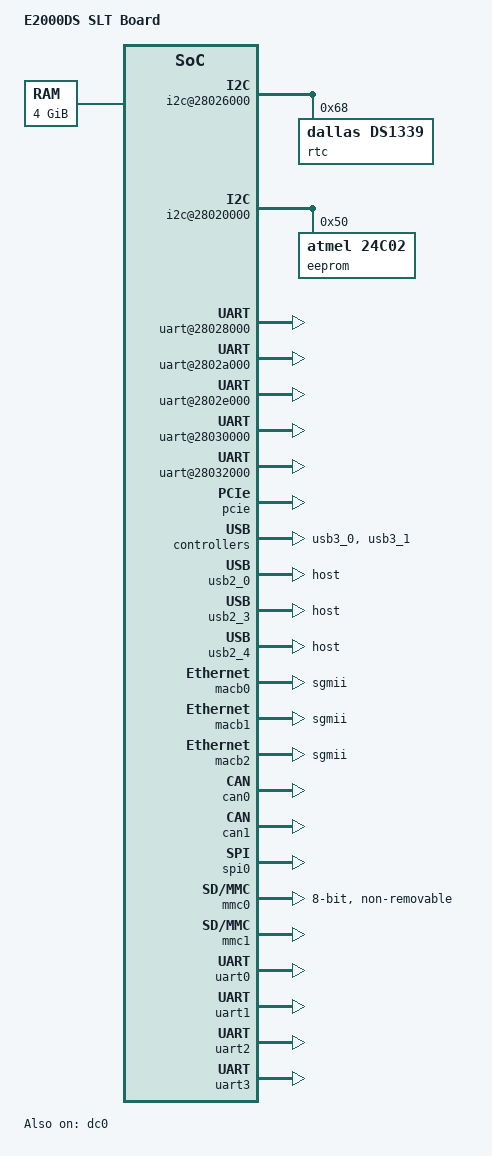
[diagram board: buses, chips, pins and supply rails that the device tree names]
// SPDX-License-Identifier: GPL-2.0
/*
 * DTS file for Phytium E2000DS power board
 *
 * Copyright (C) 2022, Phytium Technology Co., Ltd.
 *
 * Hongmin Qi <qihongmin@phytium.com.cn>
 */

/dts-v1/;
/memreserve/ 0x80000000 0x10000;

#include "e2000d.dtsi"

/{
	model = "E2000DS SLT Board";
	compatible = "phytium,e2000d";

	chosen {
		stdout-path = "serial1:115200n8";
	};

	memory@00{
		device_type = "memory";
		reg = <0x0 0x80000000 0x1 0x00000000>;
	};
};

&soc {
	i2c@28026000 {
        compatible = "phytium,i2c";
        reg = <0x0 0x28026000 0x0 0x1000>;
        interrupts = <0x0 0x65 0x4>;
        clocks = <&sysclk_50mhz>;
        #address-cells = <0x1>;
        #size-cells = <0x0>;
        status = "okay";

        rtc@68 {
            compatible = "dallas,ds1339";
            reg = <0x68>;
        };
    };

    i2c@28020000 {
        status = "okay";
        compatible = "phytium,i2c";
        reg = <0x0 0x28020000 0x0 0x1000>;
        interrupts = <0x0 0x62 0x4>;
        clocks = <&sysclk_50mhz>;
        #address-cells = <0x1>;
        #size-cells = <0x0>;
        eeprom@50 {
            compatible = "atmel,24c02";
            reg = <0x50>;
            pagesize = <1>;
        };
    };

	uart@28028000 {
        compatible = "arm,pl011", "arm,primecell";
        reg = <0x0 0x28028000 0x0 0x1000>;
        interrupts = <0x0 0x66 0x4>;
        clocks = <&sysclk_50mhz &sysclk_50mhz>;
        clock-names = "uartclk", "apb_pclk";
        status = "okay";
    };

	uart@2802a000 {
        compatible = "arm,pl011", "arm,primecell";
        reg = <0x0 0x2802a000 0x0 0x1000>;
        interrupts = <0x0 0x67 0x4>;
        clocks = <&sysclk_50mhz &sysclk_50mhz>;
        clock-names = "uartclk", "apb_pclk";
        status = "okay";
    };

	uart@2802e000 {
        compatible = "arm,pl011", "arm,primecell";
        reg = <0x0 0x2802e000 0x0 0x1000>;
        interrupts = <0x0 0x69 0x4>;
        clocks = <&sysclk_50mhz &sysclk_50mhz>;
        clock-names = "uartclk", "apb_pclk";
        status = "okay";
    };

	uart@28030000 {
        compatible = "arm,pl011", "arm,primecell";
        reg = <0x0 0x28030000 0x0 0x1000>;
        interrupts = <0x0 0x6a 0x4>;
        clocks = <&sysclk_50mhz &sysclk_50mhz>;
        clock-names = "uartclk", "apb_pclk";
        status = "okay";
    };

	uart@28032000 {
        compatible = "arm,pl011", "arm,primecell";
        reg = <0x0 0x28032000 0x0 0x1000>;
        interrupts = <0x0 0x6b 0x4>;
        clocks = <&sysclk_50mhz &sysclk_50mhz>;
        clock-names = "uartclk", "apb_pclk";
        status = "okay";
    };
};

&pcie {
	status = "okay";
};

&usb3_0 {
	status = "okay";
};

&usb3_1 {
	status = "okay";
};

&usb2_0 {
	dr_mode = "host";
	status = "okay";
};

&usb2_3 {
	dr_mode = "host";
	status = "okay";
};

&usb2_4 {
	dr_mode = "host";
	status = "okay";
};

&macb0 {
	phy-mode = "sgmii";
	use-mii;
	status = "okay";
};

&macb1 {
	phy-mode = "sgmii";
	use-mii;
	status = "okay";
};

&macb2 {
	phy-mode = "sgmii";
	use-mii;
	status = "okay";
};

&macb3 {
	phy-mode = "sgmii";
	use-mii;
	status = "disabled";
};

&dc0 {
	pipe_mask = /bits/ 8 <0x3>;
	edp_mask = /bits/ 8 <0x0>;
	status = "okay";
};

&can0 {
	status = "okay";
};

&can1 {
	status = "okay";
};

&spi0 {
	status = "okay";
};

&mmc0 {
	bus-width = <8>;
	max-frequency = <100000000>;
	cap-mmc-hw-reset;
	cap-mmc-highspeed;
	no-sdio;
	no-sd;
	non-removable;
	status = "okay";
};

&mmc1 {
	status = "okay";
};

&uart0 {
	status = "okay";
};

&uart1 {
	status = "okay";
};

&uart2 {
	status = "okay";
};

&uart3 {
	status = "okay";
};


&gpio0 {
	status = "okay";
};

&gpio1 {
	status = "okay";
};

&gpio2 {
	status = "okay";
};

&gpio3 {
	status = "okay";
};

&gpio4 {
	status = "okay";
};

&gpio5 {
	status = "okay";
};
